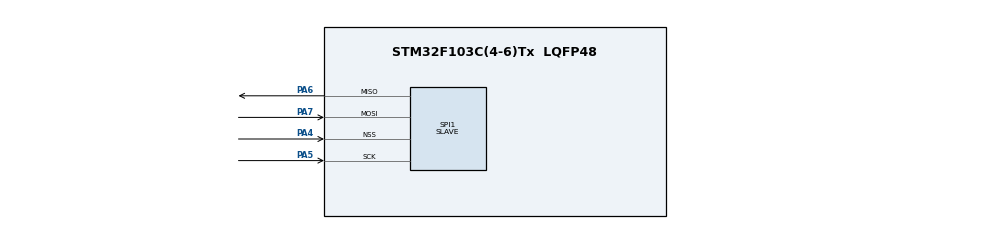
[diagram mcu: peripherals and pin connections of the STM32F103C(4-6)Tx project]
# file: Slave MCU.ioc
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Mcu.Family=STM32F1
Mcu.Name=STM32F103C(4-6)Tx
Mcu.Package=LQFP48
NVIC.PriorityGroup=NVIC_PRIORITYGROUP_4
PA4.Mode=NSS_Signal_Hard_Input
PA4.Signal=SPI1_NSS
PA5.Mode=Full_Duplex_Slave
PA5.Signal=SPI1_SCK
PA6.Mode=Full_Duplex_Slave
PA6.Signal=SPI1_MISO
PA7.Mode=Full_Duplex_Slave
PA7.Signal=SPI1_MOSI
ProjectManager.HeapSize=0x200
ProjectManager.StackSize=0x400
ProjectManager.TargetToolchain=STM32CubeIDE
RCC.APB1Freq_Value=8000000
RCC.APB2Freq_Value=8000000
SPI1.Direction=SPI_DIRECTION_2LINES
SPI1.Mode=SPI_MODE_SLAVE
SPI1.VirtualNSS=VM_NSSHARD
SPI1.VirtualType=VM_SLAVE
VP_SYS_VS_ND.Mode=No_Debug
board=custom

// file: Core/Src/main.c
/* USER CODE BEGIN Header */
/**
  ******************************************************************************
  * @file           : main.c
  * @brief          : Main program body
  ******************************************************************************
  * @attention
  *
  * Copyright (c) 2025 STMicroelectronics.
  * All rights reserved.
  *
  * This software is licensed under terms that can be found in the LICENSE file
  * in the root directory of this software component.
  * If no LICENSE file comes with this software, it is provided AS-IS.
  *
  ******************************************************************************
  */
/* USER CODE END Header */
#include "main.h"

/* USER CODE BEGIN Includes */
#include <stdio.h>
#include <string.h>
#include <math.h>
#include <stdbool.h>
/* USER CODE END Includes */

/* USER CODE BEGIN PTD */
// Struct for the Cases
typedef struct reading {
	uint16_t ID;
	float Voltage_Level;
	int Wheel_Speed;
}reading;
/* USER CODE END PTD */

SPI_HandleTypeDef hspi1;

/* USER CODE BEGIN PV */

uint16_t received_id;

// SPI buffers
uint8_t received_buffer[3];
uint8_t send_buffer[3];
uint8_t SPI_Junk[3];

// Encoded Readings
uint16_t Voltage_Level;
uint16_t Wheel_Speed;
uint32_t Full_Message;

/* USER CODE END PV */

void SystemClock_Config(void);
static void MX_GPIO_Init(void);
static void MX_SPI1_Init(void);

int main(void)
{

  /* USER CODE BEGIN 1 */
		// Case IDs declarations
		reading Reading_1 = {0x1001, 12.3, 200};
		reading Reading_2 = {0x1002, 14.2, 150};
		reading Reading_3 = {0x1003, 13.8, 100};
		reading Reading_4 = {0x1004, 11.5, 220};
		reading Reading_5 = {0x1005, 10.9, 280};

		// Array of Structs for Case IDs
		reading Readings[5] = {Reading_1, Reading_2, Reading_3, Reading_4, Reading_5};
  /* USER CODE END 1 */

  /* MCU Configuration--------------------------------------------------------*/

  /* Reset of all peripherals, Initializes the Flash interface and the Systick. */
  HAL_Init();

  /* Configure the system clock */
  SystemClock_Config();

  /* Initialize all configured peripherals */
  MX_GPIO_Init();
  MX_SPI1_Init();
  /* USER CODE BEGIN 2 */
    // NSS Hardware Signal configuration
    hspi1.Init.NSS = SPI_NSS_HARD_INPUT;
    // #Page: 450 Chapter 35 HAL SPI Generic Driver
    HAL_SPI_Init(&hspi1);
  /* USER CODE END 2 */

  /* Infinite loop */
  /* USER CODE BEGIN WHILE */
  while (1)
  {
	// Getting rid of the junk
	memset(SPI_Junk, 0, sizeof(SPI_Junk));
	// First SPI: Receiving the Case ID from the MASTER
	// #Page: 452 Chapter 35 HAL SPI Generic Driver
	HAL_SPI_TransmitReceive(&hspi1, SPI_Junk, received_buffer, 3, HAL_MAX_DELAY);
	// Decoding the Case ID
	received_id = (received_buffer[0] << 8) | received_buffer[1];
	bool matching = false;
	// looping to find matching Case ID
	for(int i = 0; i < 5; i++) {
		if(received_id == Readings[i].ID) {
			// Encoding the Data to 24 Bit message
			Voltage_Level = (uint16_t)(((Readings[i].Voltage_Level) / 24.0) * 4095);
			Wheel_Speed = (uint16_t)(((float)Readings[i].Wheel_Speed / 300.0) * 4095);
			Full_Message = (Voltage_Level << 12) | Wheel_Speed;
			send_buffer[0] = (Full_Message >> 16) & 0xFF;
			send_buffer[1] = (Full_Message >> 8) & 0xFF;
			send_buffer[2] = Full_Message & 0xFF;
			matching = true;
			// Waiting for the MASTER to initiate second SPI transfer
			// #Page: 452 Chapter 35 HAL SPI Generic Driver
			HAL_SPI_TransmitReceive(&hspi1, send_buffer, received_buffer, 3, HAL_MAX_DELAY);
			// Getting rid of the junk
			memset(received_buffer, 0, sizeof(received_buffer));
			break;
		}
	}

	if(!matching) {
		memset(send_buffer, 0, sizeof(send_buffer));
	}
    /* USER CODE END WHILE */

  }
}

void SystemClock_Config(void)
{
  RCC_OscInitTypeDef RCC_OscInitStruct = {0};
  RCC_ClkInitTypeDef RCC_ClkInitStruct = {0};

  /** Initializes the RCC Oscillators according to the specified parameters
  * in the RCC_OscInitTypeDef structure.
  */
  RCC_OscInitStruct.OscillatorType = RCC_OSCILLATORTYPE_HSI;
  RCC_OscInitStruct.HSIState = RCC_HSI_ON;
  RCC_OscInitStruct.HSICalibrationValue = RCC_HSICALIBRATION_DEFAULT;
  RCC_OscInitStruct.PLL.PLLState = RCC_PLL_NONE;
  if (HAL_RCC_OscConfig(&RCC_OscInitStruct) != HAL_OK)
  {
    Error_Handler();
  }

  /** Initializes the CPU, AHB and APB buses clocks
  */
  RCC_ClkInitStruct.ClockType = RCC_CLOCKTYPE_HCLK|RCC_CLOCKTYPE_SYSCLK
                              |RCC_CLOCKTYPE_PCLK1|RCC_CLOCKTYPE_PCLK2;
  RCC_ClkInitStruct.SYSCLKSource = RCC_SYSCLKSOURCE_HSI;
  RCC_ClkInitStruct.AHBCLKDivider = RCC_SYSCLK_DIV1;
  RCC_ClkInitStruct.APB1CLKDivider = RCC_HCLK_DIV1;
  RCC_ClkInitStruct.APB2CLKDivider = RCC_HCLK_DIV1;

  if (HAL_RCC_ClockConfig(&RCC_ClkInitStruct, FLASH_LATENCY_0) != HAL_OK)
  {
    Error_Handler();
  }
}

static void MX_SPI1_Init(void)
{

  /* SPI1 parameter configuration*/
  hspi1.Instance = SPI1;
  hspi1.Init.Mode = SPI_MODE_SLAVE;
  hspi1.Init.Direction = SPI_DIRECTION_2LINES;
  hspi1.Init.DataSize = SPI_DATASIZE_8BIT;
  hspi1.Init.CLKPolarity = SPI_POLARITY_LOW;
  hspi1.Init.CLKPhase = SPI_PHASE_1EDGE;
  hspi1.Init.NSS = SPI_NSS_HARD_INPUT;
  hspi1.Init.FirstBit = SPI_FIRSTBIT_MSB;
  hspi1.Init.TIMode = SPI_TIMODE_DISABLE;
  hspi1.Init.CRCCalculation = SPI_CRCCALCULATION_DISABLE;
  hspi1.Init.CRCPolynomial = 10;
  if (HAL_SPI_Init(&hspi1) != HAL_OK)
  {
    Error_Handler();
  }

}

static void MX_GPIO_Init(void)
{

  /* GPIO Ports Clock Enable */
  __HAL_RCC_GPIOA_CLK_ENABLE();

}

void Error_Handler(void)
{
  __disable_irq();
  while (1)
  {
  }
}
